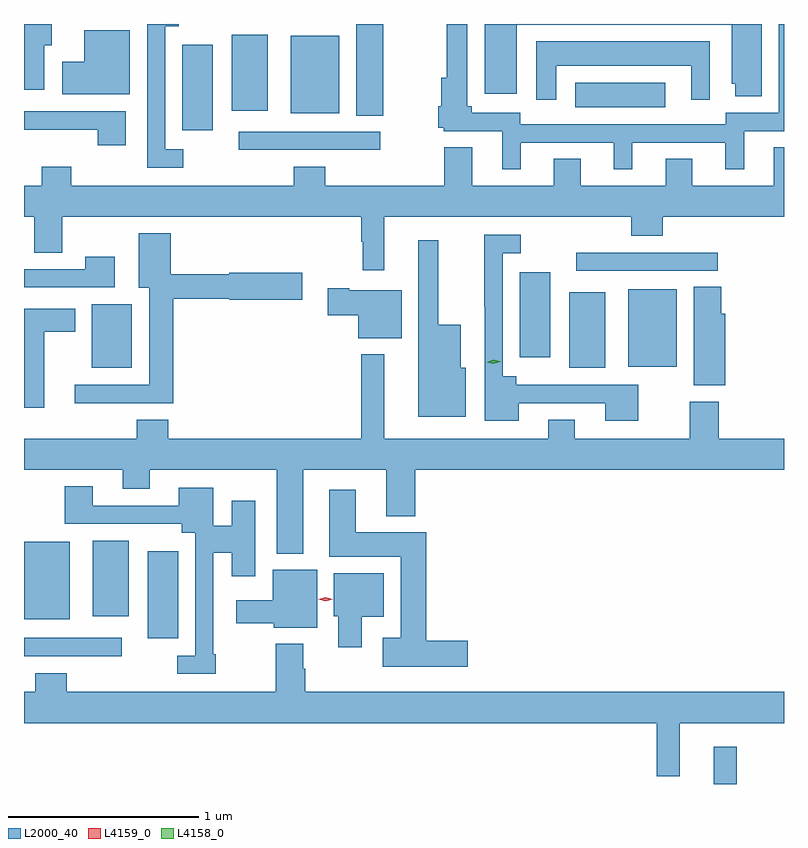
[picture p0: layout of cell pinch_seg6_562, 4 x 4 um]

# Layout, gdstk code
import gdstk
lib = gdstk.Library(unit=1e-6, precision=1e-09)
def R(c, l, rs):  # rectangles x0, y0, x1, y1
    for r in rs: c.add(gdstk.rectangle(r[:2], r[2:], *l))
def P(c, l, *ps):  # polygons
    for p in ps: c.add(gdstk.Polygon(p, *l))
L2000_40 = (2000, 40)
L4158_0 = (4158, 0)
L4159_0 = (4159, 0)

pinch_seg6_562 = lib.new_cell('pinch_seg6_562')
R(pinch_seg6_562, L2000_40, [(590.807,960.335,590.929,960.532), (587.178,961.008,587.692,961.104), (587.828,961.103,587.989,961.561), (587.178,961.202,587.419,961.609), (587.54,961.217,587.728,961.615), (587.534,962.525,587.746,962.86), (590.048,962.525,590.236,962.923), (590.357,962.531,590.614,962.938), (589.787,962.58,589.948,963.028), (590.085,963.036,590.83,963.132), (588.309,963.672,589.054,963.768), (588.011,963.777,588.172,964.225), (588.926,963.853,589.068,964.335), (588.581,963.866,588.838,964.273), (588.272,963.878,588.46,964.279), (590.079,963.896,590.554,964.027)])
P(pinch_seg6_562, L2000_40, [(588.016,963.675),(587.922,963.675),(587.922,964.322),(587.992,964.322),(587.992,964.335),(587.826,964.335),(587.826,963.579),(588.016,963.579)],
  [(587.284,964.222),(587.323,964.222),(587.323,964.335),(587.178,964.335),(587.178,963.99),(587.284,963.99)],
  [(591.061,964.335),(589.604,964.335),(589.604,963.968),(589.771,963.968),(589.771,964.332),(590.903,964.332),(590.903,964.02),(590.921,964.02),(590.921,963.954),(591.061,963.954)],
  [(589.792,963.711),(590.282,963.711),(590.282,963.57),(590.38,963.57),(590.38,963.711),(590.87,963.711),(590.87,963.57),(590.968,963.57),(590.968,963.771),(591.178,963.771),(591.178,964.335),(591.15,964.335),(591.15,963.867),(590.871,963.867),(590.871,963.807),(589.791,963.807),(589.791,963.867),(589.535,963.867),(589.535,963.903),(589.512,963.903),(589.512,964.335),(589.404,964.335),(589.404,964.051),(589.375,964.051),(589.375,963.903),(589.357,963.903),(589.357,963.789),(589.386,963.789),(589.386,963.771),(589.694,963.771),(589.694,963.57),(589.792,963.57)],
  [(587.734,964.303),(587.495,964.303),(587.495,964.136),(587.379,964.136),(587.379,963.965),(587.734,963.965)],
  [(589.978,964.115),(590.69,964.115),(590.69,963.936),(590.787,963.936),(590.787,964.243),(589.874,964.243),(589.874,963.936),(589.978,963.936)],
  [(587.713,963.876),(587.178,963.876),(587.178,963.779),(587.566,963.779),(587.566,963.696),(587.713,963.696)],
  [(589.075,963.32),(590.375,963.32),(590.375,963.221),(590.54,963.221),(590.54,963.32),(591.178,963.32),(591.178,963.686),(591.125,963.686),(591.125,963.484),(590.695,963.484),(590.695,963.626),(590.555,963.626),(590.555,963.484),(590.107,963.484),(590.107,963.626),(589.967,963.626),(589.967,963.484),(589.537,963.484),(589.537,963.686),(589.39,963.686),(589.39,963.484),(588.764,963.484),(588.764,963.583),(588.599,963.583),(588.599,963.484),(587.427,963.484),(587.427,963.583),(587.272,963.583),(587.272,963.484),(587.178,963.484),(587.178,963.32),(587.231,963.32),(587.231,963.13),(587.379,963.13),(587.379,963.32),(588.954,963.32),(588.954,963.188),(588.961,963.188),(588.961,963.039),(589.075,963.039)],
  [(587.963,962.89),(588.258,962.89),(588.258,962.885),(588.643,962.885),(588.643,963.027),(588.258,963.027),(588.258,963.019),(587.95,963.019),(587.95,963.235),(587.783,963.235),(587.783,962.948),(587.837,962.948),(587.837,962.436),(587.445,962.436),(587.445,962.339),(587.963,962.339)],
  [(589.783,962.34),(590.237,962.34),(590.237,962.246),(590.41,962.246),(590.41,962.436),(589.768,962.436),(589.768,962.482),(589.698,962.482),(589.698,963.129),(589.792,963.129),(589.792,963.225),(589.6,963.225),(589.6,962.848),(589.602,962.848),(589.602,962.246),(589.783,962.246)],
  [(589.504,962.526),(589.477,962.526),(589.477,962.752),(589.357,962.752),(589.357,963.196),(589.253,963.196),(589.253,962.267),(589.504,962.267)],
  [(587.656,963.109),(587.5,963.109),(587.5,963.045),(587.178,963.045),(587.178,962.949),(587.656,962.949)],
  [(590.87,962.811),(590.849,962.811),(590.849,962.951),(590.702,962.951),(590.702,962.435),(590.87,962.435)],
  [(589.165,962.935),(588.889,962.935),(588.889,962.943),(588.777,962.943),(588.777,962.801),(588.938,962.801),(588.938,962.681),(589.165,962.681)],
  [(587.284,962.714),(587.449,962.714),(587.449,962.836),(587.178,962.836),(587.178,962.316),(587.284,962.316)],
  [(588.649,961.988),(589.085,961.988),(589.085,961.745),(589.238,961.745),(589.238,961.988),(591.178,961.988),(591.178,962.152),(590.834,962.152),(590.834,962.347),(590.681,962.347),(590.681,962.152),(590.077,962.152),(590.077,962.251),(589.937,962.251),(589.937,962.152),(589.075,962.152),(589.075,962.596),(588.954,962.596),(588.954,962.152),(587.936,962.152),(587.936,962.251),(587.771,962.251),(587.771,962.152),(587.178,962.152),(587.178,961.988),(587.699,961.988),(587.699,961.889),(587.839,961.889),(587.839,961.988),(588.509,961.988),(588.509,961.547),(588.649,961.547)],
  [(588.187,961.018),(588.174,961.018),(588.174,961.553),(588.272,961.553),(588.272,961.428),(588.394,961.428),(588.394,961.825),(588.272,961.825),(588.272,961.695),(588.175,961.695),(588.175,961.894),(587.993,961.894),(587.993,961.8),(587.539,961.8),(587.539,961.903),(587.392,961.903),(587.392,961.704),(588.008,961.704),(588.008,961.658),(588.078,961.658),(588.078,961.011),(587.985,961.011),(587.985,960.915),(588.187,960.915)],
  [(589.513,961.088),(589.295,961.088),(589.295,961.66),(588.925,961.66),(588.925,961.885),(588.785,961.885),(588.785,961.532),(589.16,961.532),(589.16,961.105),(589.065,961.105),(589.065,960.953),(589.513,960.953)],
  [(588.721,961.462),(588.488,961.462),(588.488,961.303),(588.294,961.303),(588.294,961.181),(588.492,961.181),(588.492,961.157),(588.721,961.157)],
  [(588.955,961.214),(589.072,961.214),(589.072,961.444),(588.809,961.444),(588.809,961.218),(588.833,961.218),(588.833,961.056),(588.955,961.056)],
  [(590.629,960.656),(591.178,960.656),(591.178,960.82),(588.657,960.82),(588.657,960.941),(588.649,960.941),(588.649,961.072),(588.502,961.072),(588.502,960.82),(587.402,960.82),(587.402,960.919),(587.237,960.919),(587.237,960.82),(587.178,960.82),(587.178,960.656),(590.508,960.656),(590.508,960.375),(590.629,960.375)])
P(pinch_seg6_562, L4158_0, [(589.649,962.547),(589.614,962.556),(589.614,962.556),(589.614,962.556),(589.649,962.567),(589.684,962.559),(589.684,962.558),(589.684,962.558)])
P(pinch_seg6_562, L4159_0, [(588.765,961.298),(588.727,961.307),(588.727,961.308),(588.727,961.308),(588.765,961.318),(588.803,961.308),(588.804,961.308),(588.803,961.307)])

lib.write_gds('pinch_seg6_562.gds')
